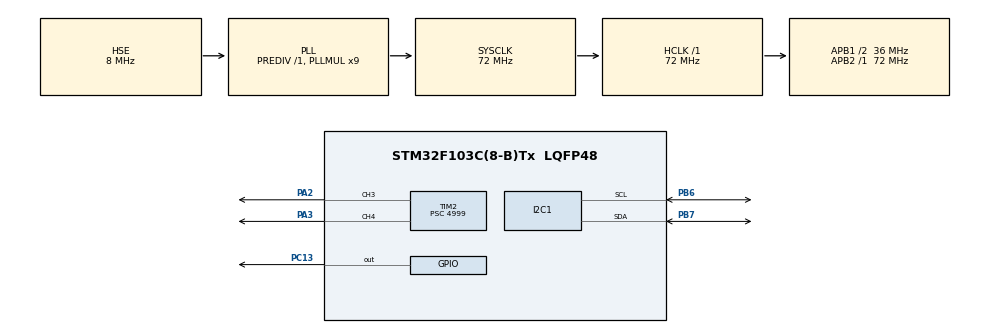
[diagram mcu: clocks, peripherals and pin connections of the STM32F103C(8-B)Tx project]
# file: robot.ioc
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I2C1.I2C_Mode=I2C_Fast
Mcu.Family=STM32F1
Mcu.Name=STM32F103C(8-B)Tx
Mcu.Package=LQFP48
NVIC.PriorityGroup=NVIC_PRIORITYGROUP_4
PA13.Mode=Serial_Wire
PA13.Signal=SYS_JTMS-SWDIO
PA14.Mode=Serial_Wire
PA14.Signal=SYS_JTCK-SWCLK
PA2.Signal=S_TIM2_CH3
PA3.Signal=S_TIM2_CH4
PB6.Mode=I2C
PB6.Signal=I2C1_SCL
PB7.Mode=I2C
PB7.Signal=I2C1_SDA
PC13-TAMPER-RTC.GPIO_PuPd=GPIO_PULLDOWN
PC13-TAMPER-RTC.Signal=GPIO_Output
PD0-OSC_IN.Mode=HSE-External-Oscillator
PD0-OSC_IN.Signal=RCC_OSC_IN
PD1-OSC_OUT.Mode=HSE-External-Oscillator
PD1-OSC_OUT.Signal=RCC_OSC_OUT
ProjectManager.HeapSize=0x200
ProjectManager.StackSize=0x400
ProjectManager.TargetToolchain=TrueSTUDIO
RCC.AHBFreq_Value=72000000
RCC.APB1CLKDivider=RCC_HCLK_DIV2
RCC.APB1Freq_Value=36000000
RCC.APB1TimFreq_Value=72000000
RCC.APB2Freq_Value=72000000
RCC.APB2TimFreq_Value=72000000
RCC.HCLKFreq_Value=72000000
RCC.PLLMUL=RCC_PLL_MUL9
RCC.PLLSourceVirtual=RCC_PLLSOURCE_HSE
RCC.SYSCLKFreq_VALUE=72000000
RCC.SYSCLKSource=RCC_SYSCLKSOURCE_PLLCLK
RCC.USBFreq_Value=72000000
SH.S_TIM2_CH3.0=TIM2_CH3,PWM Generation3 CH3
SH.S_TIM2_CH4.0=TIM2_CH4,PWM Generation4 CH4
TIM2.Channel-PWM\ Generation3\ CH3=TIM_CHANNEL_3
TIM2.Channel-PWM\ Generation4\ CH4=TIM_CHANNEL_4
TIM2.Period=99
TIM2.Prescaler=4999
VP_TIM2_VS_ClockSourceINT.Mode=Internal
board=custom

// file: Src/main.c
/**
  ******************************************************************************
  * @file           : main.c
  * @brief          : Main program body
  ******************************************************************************
  ** This notice applies to any and all portions of this file
  * that are not between comment pairs USER CODE BEGIN and
  * USER CODE END. Other portions of this file, whether
  * inserted by the user or by software development tools
  * are owned by their respective copyright owners.
  *
  * COPYRIGHT(c) 2019 STMicroelectronics
  *
  * Redistribution and use in source and binary forms, with or without modification,
  * are permitted provided that the following conditions are met:
  *   1. Redistributions of source code must retain the above copyright notice,
  *      this list of conditions and the following disclaimer.
  *   2. Redistributions in binary form must reproduce the above copyright notice,
  *      this list of conditions and the following disclaimer in the documentation
  *      and/or other materials provided with the distribution.
  *   3. Neither the name of STMicroelectronics nor the names of its contributors
  *      may be used to endorse or promote products derived from this software
  *      without specific prior written permission.
  *
  * THIS SOFTWARE IS PROVIDED BY THE COPYRIGHT HOLDERS AND CONTRIBUTORS "AS IS"
  * AND ANY EXPRESS OR IMPLIED WARRANTIES, INCLUDING, BUT NOT LIMITED TO, THE
  * IMPLIED WARRANTIES OF MERCHANTABILITY AND FITNESS FOR A PARTICULAR PURPOSE ARE
  * DISCLAIMED. IN NO EVENT SHALL THE COPYRIGHT HOLDER OR CONTRIBUTORS BE LIABLE
  * FOR ANY DIRECT, INDIRECT, INCIDENTAL, SPECIAL, EXEMPLARY, OR CONSEQUENTIAL
  * DAMAGES (INCLUDING, BUT NOT LIMITED TO, PROCUREMENT OF SUBSTITUTE GOODS OR
  * SERVICES; LOSS OF USE, DATA, OR PROFITS; OR BUSINESS INTERRUPTION) HOWEVER
  * CAUSED AND ON ANY THEORY OF LIABILITY, WHETHER IN CONTRACT, STRICT LIABILITY,
  * OR TORT (INCLUDING NEGLIGENCE OR OTHERWISE) ARISING IN ANY WAY OUT OF THE USE
  * OF THIS SOFTWARE, EVEN IF ADVISED OF THE POSSIBILITY OF SUCH DAMAGE.
  *
  ******************************************************************************
  */
#include "main.h"
#include "stm32f1xx_hal.h"

/* USER CODE BEGIN Includes */
#include "math.h"
#include "kalman.h"
#include "mojpid.h"
#define ACC_ADDRESS (0x68 << 1) // adres akcelerometru: 110 1000

/* USER CODE END Includes */

I2C_HandleTypeDef hi2c1;

TIM_HandleTypeDef htim2;

/* USER CODE BEGIN PV */
/* Private variables ---------------------------------------------------------*/
uint8_t tab_read[2],tab1,tab2;
int16_t Xacc, Yacc, Zzyr = 0;
int8_t h = 0;
float kat2, kat, obr = 0.0f;
float e=0;
uint8_t setting = 0x80;

/* USER CODE END PV */

void SystemClock_Config(void);
static void MX_GPIO_Init(void);
static void MX_I2C1_Init(void);
static void MX_TIM2_Init(void);

void HAL_TIM_MspPostInit(TIM_HandleTypeDef *htim);

/* USER CODE BEGIN PFP */
/* Private function prototypes -----------------------------------------------*/

/* USER CODE END PFP */

int main(void)
{

  /* MCU Configuration----------------------------------------------------------*/

  /* Reset of all peripherals, Initializes the Flash interface and the Systick. */
  HAL_Init();

  /* Configure the system clock */
  SystemClock_Config();

  /* Initialize all configured peripherals */
  MX_GPIO_Init();
  MX_I2C1_Init();
  MX_TIM2_Init();
  /* USER CODE BEGIN 2 */

  //
  //Inicjalizacja PWM, MPU-6050, filtru Kalmana, regulatora PID
  //

  HAL_TIM_PWM_Start(&htim2, TIM_CHANNEL_3);
  HAL_TIM_PWM_Start(&htim2, TIM_CHANNEL_4);

  HAL_I2C_Mem_Write(&hi2c1,ACC_ADDRESS,0x6B,1,&setting,1,100);//nastawy
  HAL_Delay(100);
  HAL_I2C_Mem_Write(&hi2c1,ACC_ADDRESS,0x6B,1,0x00,1,100);//wybudzenie
  HAL_Delay(1000);
  HAL_I2C_Mem_Write(&hi2c1,ACC_ADDRESS,0x1B,1,0x00,1,100);//zyroskop
  HAL_Delay(100);
  HAL_I2C_Mem_Write(&hi2c1,ACC_ADDRESS,0x1C,1,0x00,1,100);//akcelerometr
  HAL_Delay(100);

  KalmanFilter(0.001f, 0.003f, 0.03f);
  pid_init(6.0f,15.53f,0.0161f,0.005f);

  /* USER CODE END 2 */

  /* Infinite loop */
  /* USER CODE BEGIN WHILE */
  while (1)
  {
	  //
	  //Zczytanie danych z MPU-6050
	  //

	  //akcelerometr
	  HAL_I2C_Mem_Read(&hi2c1,ACC_ADDRESS,0x3D,1,&tab_read[0],2,100);
	  Yacc=((tab_read[0]<<8)|tab_read[1]);

	  HAL_I2C_Mem_Read(&hi2c1,ACC_ADDRESS,0x3B,1,&tab_read[0],2,100);
	  Xacc=((tab_read[0]<<8)|tab_read[1]);

	  if(Xacc!=0||Yacc!=0)
	  {
		  kat=atan2(Yacc,Xacc);
		  kat=kat*180/3.14f;
	  }

	  //zyroskop
   	  HAL_I2C_Mem_Read(&hi2c1,ACC_ADDRESS,0x47,1,&tab_read[0],2,100);
	  Zzyr=((tab_read[0]<<8)|tab_read[1]);
	  kat2=Zzyr*(-250)/32767;

	  //
	  //Przetworzenie danych przez filtr i podanie ich na regulator pid wraz z wymuszeniem
	  //

	  obr=KalmanUpdate(kat, kat2);
	  e=pid_compute(1.0f,obr);
	  h=(int8_t)e; //zrzutowanie float na int

	  //
	  //Podanie wartosci do odpowiednich rejestrow PWM. Offset dla pokonania pierwszych oporow rozruchu silnika
	  //

	  if(h>0)
	  {
		  TIM2->CCR3 = 0;
		  TIM2->CCR4 = 10+h;
	  }
	  if(h<0)
	  {
		  TIM2->CCR4 = 0;
		  TIM2->CCR3 = 10+((-1)*h);
	  }
	  if(h==0)
	  {
		  TIM2->CCR4 = 0;
		  TIM2->CCR3 = 0;
	  }

   	  HAL_Delay(5);

  /* USER CODE END WHILE */

  }

}

void SystemClock_Config(void)
{

  RCC_OscInitTypeDef RCC_OscInitStruct;
  RCC_ClkInitTypeDef RCC_ClkInitStruct;

    /**Initializes the CPU, AHB and APB busses clocks
    */
  RCC_OscInitStruct.OscillatorType = RCC_OSCILLATORTYPE_HSE;
  RCC_OscInitStruct.HSEState = RCC_HSE_ON;
  RCC_OscInitStruct.HSEPredivValue = RCC_HSE_PREDIV_DIV1;
  RCC_OscInitStruct.HSIState = RCC_HSI_ON;
  RCC_OscInitStruct.PLL.PLLState = RCC_PLL_ON;
  RCC_OscInitStruct.PLL.PLLSource = RCC_PLLSOURCE_HSE;
  RCC_OscInitStruct.PLL.PLLMUL = RCC_PLL_MUL9;
  if (HAL_RCC_OscConfig(&RCC_OscInitStruct) != HAL_OK)
  {
    _Error_Handler(__FILE__, __LINE__);
  }

    /**Initializes the CPU, AHB and APB busses clocks
    */
  RCC_ClkInitStruct.ClockType = RCC_CLOCKTYPE_HCLK|RCC_CLOCKTYPE_SYSCLK
                              |RCC_CLOCKTYPE_PCLK1|RCC_CLOCKTYPE_PCLK2;
  RCC_ClkInitStruct.SYSCLKSource = RCC_SYSCLKSOURCE_PLLCLK;
  RCC_ClkInitStruct.AHBCLKDivider = RCC_SYSCLK_DIV1;
  RCC_ClkInitStruct.APB1CLKDivider = RCC_HCLK_DIV2;
  RCC_ClkInitStruct.APB2CLKDivider = RCC_HCLK_DIV1;

  if (HAL_RCC_ClockConfig(&RCC_ClkInitStruct, FLASH_LATENCY_2) != HAL_OK)
  {
    _Error_Handler(__FILE__, __LINE__);
  }

    /**Configure the Systick interrupt time
    */
  HAL_SYSTICK_Config(HAL_RCC_GetHCLKFreq()/1000);

    /**Configure the Systick
    */
  HAL_SYSTICK_CLKSourceConfig(SYSTICK_CLKSOURCE_HCLK);

  /* SysTick_IRQn interrupt configuration */
  HAL_NVIC_SetPriority(SysTick_IRQn, 0, 0);
}

/* I2C1 init function */
static void MX_I2C1_Init(void)
{

  hi2c1.Instance = I2C1;
  hi2c1.Init.ClockSpeed = 400000;
  hi2c1.Init.DutyCycle = I2C_DUTYCYCLE_2;
  hi2c1.Init.OwnAddress1 = 0;
  hi2c1.Init.AddressingMode = I2C_ADDRESSINGMODE_7BIT;
  hi2c1.Init.DualAddressMode = I2C_DUALADDRESS_DISABLE;
  hi2c1.Init.OwnAddress2 = 0;
  hi2c1.Init.GeneralCallMode = I2C_GENERALCALL_DISABLE;
  hi2c1.Init.NoStretchMode = I2C_NOSTRETCH_DISABLE;
  if (HAL_I2C_Init(&hi2c1) != HAL_OK)
  {
    _Error_Handler(__FILE__, __LINE__);
  }

}

/* TIM2 init function */
static void MX_TIM2_Init(void)
{

  TIM_ClockConfigTypeDef sClockSourceConfig;
  TIM_MasterConfigTypeDef sMasterConfig;
  TIM_OC_InitTypeDef sConfigOC;

  htim2.Instance = TIM2;
  htim2.Init.Prescaler = 4999;
  htim2.Init.CounterMode = TIM_COUNTERMODE_UP;
  htim2.Init.Period = 99;
  htim2.Init.ClockDivision = TIM_CLOCKDIVISION_DIV1;
  htim2.Init.AutoReloadPreload = TIM_AUTORELOAD_PRELOAD_DISABLE;
  if (HAL_TIM_Base_Init(&htim2) != HAL_OK)
  {
    _Error_Handler(__FILE__, __LINE__);
  }

  sClockSourceConfig.ClockSource = TIM_CLOCKSOURCE_INTERNAL;
  if (HAL_TIM_ConfigClockSource(&htim2, &sClockSourceConfig) != HAL_OK)
  {
    _Error_Handler(__FILE__, __LINE__);
  }

  if (HAL_TIM_PWM_Init(&htim2) != HAL_OK)
  {
    _Error_Handler(__FILE__, __LINE__);
  }

  sMasterConfig.MasterOutputTrigger = TIM_TRGO_RESET;
  sMasterConfig.MasterSlaveMode = TIM_MASTERSLAVEMODE_DISABLE;
  if (HAL_TIMEx_MasterConfigSynchronization(&htim2, &sMasterConfig) != HAL_OK)
  {
    _Error_Handler(__FILE__, __LINE__);
  }

  sConfigOC.OCMode = TIM_OCMODE_PWM1;
  sConfigOC.Pulse = 0;
  sConfigOC.OCPolarity = TIM_OCPOLARITY_HIGH;
  sConfigOC.OCFastMode = TIM_OCFAST_DISABLE;
  if (HAL_TIM_PWM_ConfigChannel(&htim2, &sConfigOC, TIM_CHANNEL_3) != HAL_OK)
  {
    _Error_Handler(__FILE__, __LINE__);
  }

  if (HAL_TIM_PWM_ConfigChannel(&htim2, &sConfigOC, TIM_CHANNEL_4) != HAL_OK)
  {
    _Error_Handler(__FILE__, __LINE__);
  }

  HAL_TIM_MspPostInit(&htim2);

}

/** Configure pins as
        * Analog
        * Input
        * Output
        * EVENT_OUT
        * EXTI
*/
static void MX_GPIO_Init(void)
{

  GPIO_InitTypeDef GPIO_InitStruct;

  /* GPIO Ports Clock Enable */
  __HAL_RCC_GPIOC_CLK_ENABLE();
  __HAL_RCC_GPIOD_CLK_ENABLE();
  __HAL_RCC_GPIOA_CLK_ENABLE();
  __HAL_RCC_GPIOB_CLK_ENABLE();

  /*Configure GPIO pin Output Level */
  HAL_GPIO_WritePin(GPIOC, GPIO_PIN_13, GPIO_PIN_RESET);

  /*Configure GPIO pin : PC13 */
  GPIO_InitStruct.Pin = GPIO_PIN_13;
  GPIO_InitStruct.Mode = GPIO_MODE_OUTPUT_PP;
  GPIO_InitStruct.Pull = GPIO_PULLDOWN;
  GPIO_InitStruct.Speed = GPIO_SPEED_FREQ_LOW;
  HAL_GPIO_Init(GPIOC, &GPIO_InitStruct);

}

void _Error_Handler(char *file, int line)
{
  while(1)
  {
  }
}

/************************ (C) COPYRIGHT STMicroelectronics *****END OF FILE****/
